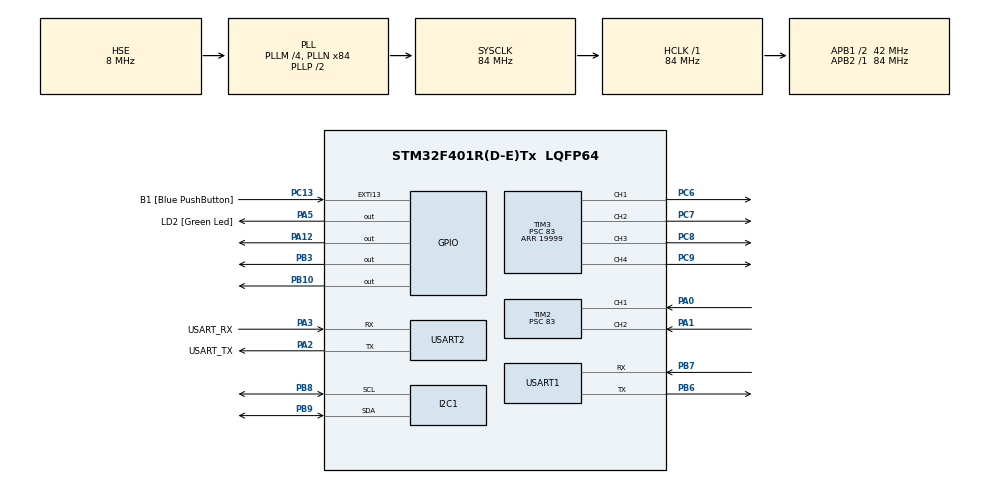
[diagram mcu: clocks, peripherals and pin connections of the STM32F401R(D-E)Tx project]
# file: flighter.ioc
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Dma.I2C1_RX.0.Direction=DMA_PERIPH_TO_MEMORY
Dma.I2C1_RX.0.FIFOMode=DMA_FIFOMODE_DISABLE
Dma.I2C1_RX.0.Instance=DMA1_Stream0
Dma.I2C1_RX.0.MemDataAlignment=DMA_MDATAALIGN_BYTE
Dma.I2C1_RX.0.MemInc=DMA_MINC_ENABLE
Dma.I2C1_RX.0.Mode=DMA_NORMAL
Dma.I2C1_RX.0.PeriphDataAlignment=DMA_PDATAALIGN_BYTE
Dma.I2C1_RX.0.PeriphInc=DMA_PINC_DISABLE
Dma.I2C1_RX.0.Priority=DMA_PRIORITY_LOW
Dma.I2C1_TX.1.Direction=DMA_MEMORY_TO_PERIPH
Dma.I2C1_TX.1.FIFOMode=DMA_FIFOMODE_ENABLE
Dma.I2C1_TX.1.FIFOThreshold=DMA_FIFO_THRESHOLD_1QUARTERFULL
Dma.I2C1_TX.1.Instance=DMA1_Stream6
Dma.I2C1_TX.1.MemBurst=DMA_MBURST_SINGLE
Dma.I2C1_TX.1.MemDataAlignment=DMA_MDATAALIGN_BYTE
Dma.I2C1_TX.1.MemInc=DMA_MINC_ENABLE
Dma.I2C1_TX.1.Mode=DMA_NORMAL
Dma.I2C1_TX.1.PeriphBurst=DMA_PBURST_SINGLE
Dma.I2C1_TX.1.PeriphDataAlignment=DMA_PDATAALIGN_BYTE
Dma.I2C1_TX.1.PeriphInc=DMA_PINC_DISABLE
Dma.I2C1_TX.1.Priority=DMA_PRIORITY_LOW
Dma.Request0=I2C1_RX
Dma.Request1=I2C1_TX
FREERTOS.Tasks01=defaultTask,24,128,StartDefaultTask,Default,NULL,Dynamic,NULL,NULL
I2C1.I2C_Mode=I2C_Fast
Mcu.Family=STM32F4
Mcu.Name=STM32F401R(D-E)Tx
Mcu.Package=LQFP64
NVIC.DMA1_Stream0_IRQn=true\:5\:0\:false\:false\:true\:true\:false\:true\:true
NVIC.DMA1_Stream6_IRQn=true\:5\:0\:false\:false\:true\:true\:false\:true\:true
NVIC.I2C1_ER_IRQn=true\:5\:0\:false\:false\:true\:true\:true\:true\:true
NVIC.I2C1_EV_IRQn=true\:5\:0\:false\:false\:true\:true\:true\:true\:true
NVIC.PriorityGroup=NVIC_PRIORITYGROUP_4
NVIC.TIM1_UP_TIM10_IRQn=true\:15\:0\:false\:false\:true\:false\:false\:true\:true
NVIC.TIM2_IRQn=true\:5\:0\:false\:false\:true\:true\:true\:true\:true
NVIC.TimeBase=TIM1_UP_TIM10_IRQn
NVIC.TimeBaseIP=TIM1
PA0-WKUP.Signal=S_TIM2_CH1_ETR
PA1.Signal=S_TIM2_CH2
PA12.GPIO_ModeDefaultOutputPP=GPIO_MODE_OUTPUT_PP
PA12.GPIO_PuPd=GPIO_NOPULL
PA12.GPIO_Speed=GPIO_SPEED_FREQ_HIGH
PA12.Signal=GPIO_Output
PA13.GPIO_Label=TMS
PA13.Mode=Serial_Wire
PA13.Signal=SYS_JTMS-SWDIO
PA14.GPIO_Label=TCK
PA14.Mode=Serial_Wire
PA14.Signal=SYS_JTCK-SWCLK
PA2.GPIO_Label=USART_TX
PA2.GPIO_Mode=GPIO_MODE_AF_PP
PA2.GPIO_PuPd=GPIO_NOPULL
PA2.GPIO_Speed=GPIO_SPEED_FREQ_LOW
PA2.Mode=Asynchronous
PA2.Signal=USART2_TX
PA3.GPIO_Label=USART_RX
PA3.GPIO_Mode=GPIO_MODE_AF_PP
PA3.GPIO_PuPd=GPIO_NOPULL
PA3.GPIO_Speed=GPIO_SPEED_FREQ_LOW
PA3.Mode=Asynchronous
PA3.Signal=USART2_RX
PA5.GPIO_Label=LD2 [Green Led]
PA5.GPIO_Mode=GPIO_MODE_OUTPUT_PP
PA5.GPIO_PuPd=GPIO_NOPULL
PA5.GPIO_Speed=GPIO_SPEED_FREQ_LOW
PA5.Signal=GPIO_Output
PB10.GPIO_ModeDefaultOutputPP=GPIO_MODE_OUTPUT_OD
PB10.GPIO_PuPd=GPIO_NOPULL
PB10.GPIO_Speed=GPIO_SPEED_FREQ_HIGH
PB10.Signal=GPIO_Output
PB3.GPIO_ModeDefaultOutputPP=GPIO_MODE_OUTPUT_OD
PB3.GPIO_PuPd=GPIO_NOPULL
PB3.GPIO_Speed=GPIO_SPEED_FREQ_HIGH
PB3.Signal=GPIO_Output
PB6.Mode=Asynchronous
PB6.Signal=USART1_TX
PB7.Mode=Asynchronous
PB7.Signal=USART1_RX
PB8.Mode=I2C
PB8.Signal=I2C1_SCL
PB9.Mode=I2C
PB9.Signal=I2C1_SDA
PC13-ANTI_TAMP.GPIO_Label=B1 [Blue PushButton]
PC13-ANTI_TAMP.GPIO_ModeDefaultEXTI=GPIO_MODE_IT_FALLING
PC13-ANTI_TAMP.GPIO_PuPd=GPIO_NOPULL
PC13-ANTI_TAMP.Signal=GPXTI13
PC14-OSC32_IN.Signal=RCC_OSC32_IN
PC15-OSC32_OUT.Signal=RCC_OSC32_OUT
PC6.Signal=S_TIM3_CH1
PC7.Signal=S_TIM3_CH2
PC8.Signal=S_TIM3_CH3
PC9.Signal=S_TIM3_CH4
PH0\ -\ OSC_IN.Mode=HSE-External-Oscillator
PH0\ -\ OSC_IN.Signal=RCC_OSC_IN
PH1\ -\ OSC_OUT.Mode=HSE-External-Oscillator
PH1\ -\ OSC_OUT.Signal=RCC_OSC_OUT
ProjectManager.HeapSize=0x200
ProjectManager.StackSize=0x400
ProjectManager.TargetToolchain=MDK-ARM V5.32
RCC.48MHZClocksFreq_Value=24000000
RCC.AHBFreq_Value=84000000
RCC.APB1CLKDivider=RCC_HCLK_DIV2
RCC.APB1Freq_Value=42000000
RCC.APB1TimFreq_Value=84000000
RCC.APB2Freq_Value=84000000
RCC.APB2TimFreq_Value=84000000
RCC.CortexFreq_Value=84000000
RCC.HCLKFreq_Value=84000000
RCC.HSE_VALUE=8000000
RCC.HSI_VALUE=16000000
RCC.LSE_VALUE=32768
RCC.PLLM=4
RCC.PLLN=84
RCC.PLLQ=7
RCC.PLLSourceVirtual=RCC_PLLSOURCE_HSE
RCC.SYSCLKFreq_VALUE=84000000
RCC.SYSCLKSource=RCC_SYSCLKSOURCE_PLLCLK
RCC.VCOOutputFreq_Value=168000000
SH.S_TIM2_CH1_ETR.0=TIM2_CH1,Input_Capture1_from_TI1
SH.S_TIM2_CH2.0=TIM2_CH2,Input_Capture2_from_TI2
SH.S_TIM3_CH1.0=TIM3_CH1,PWM Generation1 CH1
SH.S_TIM3_CH2.0=TIM3_CH2,PWM Generation2 CH2
SH.S_TIM3_CH3.0=TIM3_CH3,PWM Generation3 CH3
SH.S_TIM3_CH4.0=TIM3_CH4,PWM Generation4 CH4
TIM2.Channel-Input_Capture1_from_TI1=TIM_CHANNEL_1
TIM2.Channel-Input_Capture2_from_TI2=TIM_CHANNEL_2
TIM2.ICPolarity_CH1=TIM_INPUTCHANNELPOLARITY_RISING
TIM2.ICPolarity_CH2=TIM_INPUTCHANNELPOLARITY_RISING
TIM2.Period=0xffffffff
TIM2.Prescaler=83
TIM3.Channel-PWM\ Generation1\ CH1=TIM_CHANNEL_1
TIM3.Channel-PWM\ Generation2\ CH2=TIM_CHANNEL_2
TIM3.Channel-PWM\ Generation3\ CH3=TIM_CHANNEL_3
TIM3.Channel-PWM\ Generation4\ CH4=TIM_CHANNEL_4
TIM3.Period=19999
TIM3.Prescaler=83
USART1.VirtualMode=VM_ASYNC
USART2.VirtualMode=VM_ASYNC
VP_FREERTOS_VS_CMSIS_V2.Mode=CMSIS_V2
VP_SYS_VS_tim1.Mode=TIM1
VP_TIM2_VS_ClockSourceINT.Mode=Internal
VP_TIM3_VS_ClockSourceINT.Mode=Internal
board=NUCLEO-F401RE

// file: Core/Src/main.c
/* USER CODE BEGIN Header */
/**
  ******************************************************************************
  * @file           : main.c
  * @brief          : Main program body
  ******************************************************************************
  * @attention
  *
  * Copyright (c) 2025 STMicroelectronics.
  * All rights reserved.
  *
  * This software is licensed under terms that can be found in the LICENSE file
  * in the root directory of this software component.
  * If no LICENSE file comes with this software, it is provided AS-IS.
  *
  ******************************************************************************
  */
/* USER CODE END Header */
#include "main.h"
#include "cmsis_os.h"
#include "dma.h"
#include "i2c.h"
#include "tim.h"
#include "usart.h"
#include "gpio.h"

/* USER CODE BEGIN Includes */
#include "stdio.h"
#include "GY86.h"
#include "Delay.h"
#include "OLED.h"
/* USER CODE END Includes */

/* USER CODE BEGIN PD */
#define PWM_MAX_SPEED 	2000
#define PWM_MIN_SPEED 	1000
#define NO_FIRST 			0
#define YES_FIRST 		1
/* USER CODE END PD */

/* USER CODE BEGIN PV */
static uint8_t g_rxBuffer[64]; // 接收缓冲区
static uint16_t g_rxLength = 64; // 要接收的字节数

static uint8_t g_test = 0;

/* USER CODE END PV */

void SystemClock_Config(void);
void MX_FREERTOS_Init(void);

int main(void)
{

  /* USER CODE BEGIN 1 */

	uint8_t RxByte;
	uint16_t test=0;
	uint16_t pwmVal[4] = {0, 0, 0, 0};   //PWM占空比
   uint8_t dir=1;

  /* USER CODE END 1 */

  /* MCU Configuration--------------------------------------------------------*/

  /* Reset of all peripherals, Initializes the Flash interface and the Systick. */
  HAL_Init();

  /* Configure the system clock */
  SystemClock_Config();

  /* Initialize all configured peripherals */
  MX_GPIO_Init();
  MX_DMA_Init();
  MX_USART2_UART_Init();
  MX_USART1_UART_Init();
  MX_TIM3_Init();
  MX_TIM2_Init();
  MX_I2C1_Init();
  /* USER CODE BEGIN 2 */
  DelayUs_Init();

  /* USER CODE END 2 */

  /* Init scheduler */
  osKernelInitialize();

  /* Call init function for freertos objects (in cmsis_os2.c) */
  MX_FREERTOS_Init();

  /* Start scheduler */
  osKernelStart();

  /* We should never get here as control is now taken by the scheduler */

  /* Infinite loop */
  /* USER CODE BEGIN WHILE */

  //HAL_UARTEx_ReceiveToIdle_IT(&huart1, g_rxBuffer, g_rxLength);

  HAL_TIM_PWM_Start(&htim3,TIM_CHANNEL_1);
  HAL_TIM_PWM_Start(&htim3,TIM_CHANNEL_2);
  HAL_TIM_PWM_Start(&htim3,TIM_CHANNEL_3);
  HAL_TIM_PWM_Start(&htim3,TIM_CHANNEL_4);

  __HAL_TIM_SET_CAPTUREPOLARITY(&htim2, TIM_CHANNEL_1, TIM_INPUTCHANNELPOLARITY_RISING);
  //HAL_TIM_IC_Start(&htim2, TIM_CHANNEL_2);//启动输入捕获
  __HAL_TIM_SetCompare(&htim3, TIM_CHANNEL_3, 1000);

  //OLED_ShowString(1,1,"welcome");
  //Delay_ms(100);
  __HAL_TIM_SetCompare(&htim3,TIM_CHANNEL_3,2000);
  uint8_t buf = 14;
  while (1)
  {

	  /*
	  HAL_I2C_Mem_Write_DMA(&hi2c1, MPU6050_DEVICE_ADRESS<<1, MPU6050_PWR_MGMT_1,
			I2C_MEMADD_SIZE_8BIT, &buf, sizeof(uint8_t));*/
	  HAL_I2C_Mem_Write(&hi2c1, MPU6050_DEVICE_ADRESS<<1, MPU6050_PWR_MGMT_1,
                          I2C_MEMADD_SIZE_8BIT, &buf, sizeof(uint8_t), 100);
		Delay_ms(10);

    /* USER CODE END WHILE */

  }
}

void SystemClock_Config(void)
{
  RCC_OscInitTypeDef RCC_OscInitStruct = {0};
  RCC_ClkInitTypeDef RCC_ClkInitStruct = {0};

  /** Configure the main internal regulator output voltage
  */
  __HAL_RCC_PWR_CLK_ENABLE();
  __HAL_PWR_VOLTAGESCALING_CONFIG(PWR_REGULATOR_VOLTAGE_SCALE2);

  /** Initializes the RCC Oscillators according to the specified parameters
  * in the RCC_OscInitTypeDef structure.
  */
  RCC_OscInitStruct.OscillatorType = RCC_OSCILLATORTYPE_HSE;
  RCC_OscInitStruct.HSEState = RCC_HSE_ON;
  RCC_OscInitStruct.PLL.PLLState = RCC_PLL_ON;
  RCC_OscInitStruct.PLL.PLLSource = RCC_PLLSOURCE_HSE;
  RCC_OscInitStruct.PLL.PLLM = 4;
  RCC_OscInitStruct.PLL.PLLN = 84;
  RCC_OscInitStruct.PLL.PLLP = RCC_PLLP_DIV2;
  RCC_OscInitStruct.PLL.PLLQ = 7;
  if (HAL_RCC_OscConfig(&RCC_OscInitStruct) != HAL_OK)
  {
    Error_Handler();
  }

  /** Initializes the CPU, AHB and APB buses clocks
  */
  RCC_ClkInitStruct.ClockType = RCC_CLOCKTYPE_HCLK|RCC_CLOCKTYPE_SYSCLK
                              |RCC_CLOCKTYPE_PCLK1|RCC_CLOCKTYPE_PCLK2;
  RCC_ClkInitStruct.SYSCLKSource = RCC_SYSCLKSOURCE_PLLCLK;
  RCC_ClkInitStruct.AHBCLKDivider = RCC_SYSCLK_DIV1;
  RCC_ClkInitStruct.APB1CLKDivider = RCC_HCLK_DIV2;
  RCC_ClkInitStruct.APB2CLKDivider = RCC_HCLK_DIV1;

  if (HAL_RCC_ClockConfig(&RCC_ClkInitStruct, FLASH_LATENCY_2) != HAL_OK)
  {
    Error_Handler();
  }
}

/* USER CODE BEGIN 4 */

void HAL_UART_RxCpltCallback(UART_HandleTypeDef *huart)
{
	if (huart->Instance == USART1)
	{

		HAL_UARTEx_ReceiveToIdle_IT(&huart1, g_rxBuffer, g_rxLength); // 重新启动中断接收
	}
}

/* USER CODE END 4 */

void HAL_TIM_PeriodElapsedCallback(TIM_HandleTypeDef *htim)
{
  if (htim->Instance == TIM1) {
    HAL_IncTick();
  }
}

void Error_Handler(void)
{
  __disable_irq();
  while (1)
  {
  }
}

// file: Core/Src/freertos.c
/* USER CODE BEGIN Header */
/**
  ******************************************************************************
  * File Name          : freertos.c
  * Description        : Code for freertos applications
  ******************************************************************************
  * @attention
  *
  * Copyright (c) 2025 STMicroelectronics.
  * All rights reserved.
  *
  * This software is licensed under terms that can be found in the LICENSE file
  * in the root directory of this software component.
  * If no LICENSE file comes with this software, it is provided AS-IS.
  *
  ******************************************************************************
  */
/* USER CODE END Header */

#include "FreeRTOS.h"
#include "task.h"
#include "main.h"
#include "cmsis_os.h"

/* USER CODE BEGIN Includes */
#include "GY86.h"
#include "Delay.h"
#include "OLED.h"
#include "Queue.h"
#include "usart.h"
#include "semphr.h"
#include "i2c.h"
#include "uart_task.h"
#include "getPPM_task.h"
#include "FlightControl.h"
/* USER CODE END Includes */

/* Definitions for defaultTask */
osThreadId_t defaultTaskHandle;
const osThreadAttr_t defaultTask_attributes = {
  .name = "defaultTask",
  .stack_size = 128 * 4,
  .priority = (osPriority_t) osPriorityNormal,
};

/* USER CODE BEGIN FunctionPrototypes */
void Get_GYROandACCEL_Task(void *params);
void Get_MAG_Task(void *params);
void Get_Pressure_Task(void *params);
void Show_Task(void *params);
void Uart_Debug_Task(void *params);
void Get_PPM_Task(void *params);
void Flight_Control_Task(void *params);
/* USER CODE END FunctionPrototypes */

void StartDefaultTask(void *argument);

void MX_FREERTOS_Init(void); /* (MISRA C 2004 rule 8.1) */

void MX_FREERTOS_Init(void) {
  /* USER CODE BEGIN Init */
	QueueGYROACCEL = xQueueCreate(10, sizeof(struct GYRO_ACCEL_Data));
	QueueMAG = xQueueCreate(10, sizeof(struct MAG_Data));
	QueuePressure = xQueueCreate(10, sizeof(struct Pressure_Data));
	QueuePPM = xQueueCreate(10, sizeof(struct PPM_Data));
  /* USER CODE END Init */

  /* USER CODE BEGIN RTOS_TIMERS */
  /* start timers, add new ones, ... */
	xTaskCreate(Get_GYROandACCEL_Task,"Get_GYROandACCEL_Task",128,NULL,osPriorityNormal,NULL);
	xTaskCreate(Get_MAG_Task,"Get_MAG_Task",128,NULL,osPriorityNormal,NULL);
	xTaskCreate(Get_Pressure_Task,"Get_Pressure_Task",128,NULL,osPriorityNormal,NULL);
	xTaskCreate(Uart_Debug_Task,"Uart_Debug_Task",128,NULL,osPriorityNormal,NULL);
  xTaskCreate(Get_PPM_Task,"Get_PPM_Task",128,NULL,osPriorityNormal,NULL);
  xTaskCreate(Flight_Control_Task,"Flight_Control_Task",256,NULL,osPriorityAboveNormal,NULL);
  /* USER CODE END RTOS_TIMERS */

  /* Create the thread(s) */
  /* creation of defaultTask */
  defaultTaskHandle = osThreadNew(StartDefaultTask, NULL, &defaultTask_attributes);

}

void StartDefaultTask(void *argument)
{
  for(;;)
  {
    osDelay(1);
  }
}

/* USER CODE BEGIN Application */
void Get_GYROandACCEL_Task(void *params)
{
	Get_GYROandACCEL();
}

void Get_MAG_Task(void *params)
{
	Get_MAG();
}

void Get_Pressure_Task(void *params)
{
	Get_Pressure();
}

void Show_Task(void *params)
{
	OLED_Show();
}

void Uart_Debug_Task(void *params)
{
	Uart_Send_Task();
}

void Get_PPM_Task(void *params){
	getPPM_Task();
}

void Flight_Control_Task(void *params)
{
  FlightControl_Task(params);
}
/* USER CODE END Application */
